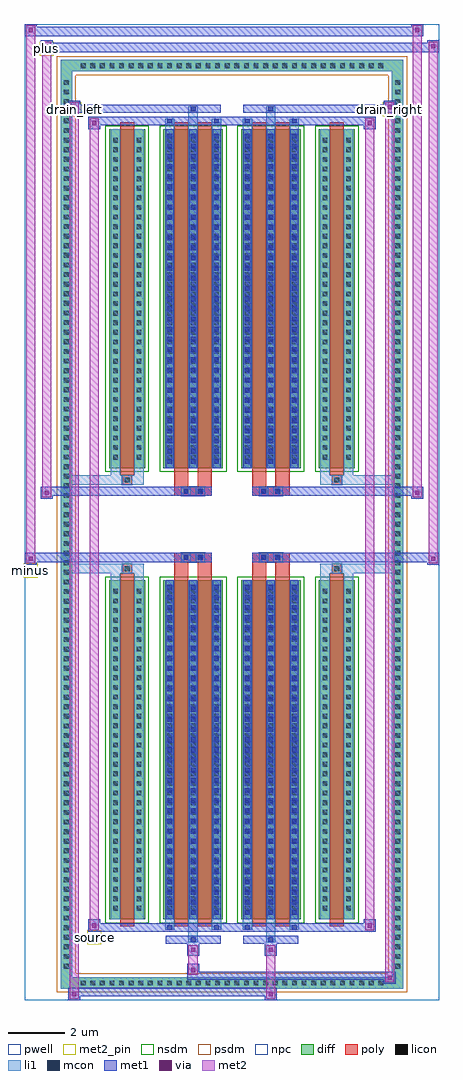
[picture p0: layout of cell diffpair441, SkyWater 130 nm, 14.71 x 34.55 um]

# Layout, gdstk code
import gdstk
lib = gdstk.Library(unit=1e-6, precision=5e-09)
def R(c, l, rs):  # rectangles x0, y0, x1, y1
    for r in rs: c.add(gdstk.rectangle(r[:2], r[2:], *l))
def A(c, l, x, y, w, h, nx, ny, dx, dy):  # array of equal rectangles
    R(c, l, [(x+i*dx, y+j*dy, x+i*dx+w, y+j*dy+h) for i in range(nx) for j in range(ny)])
def P(c, l, *ps):  # polygons
    for p in ps: c.add(gdstk.Polygon(p, *l))
pwell = (64, 44)
diff = (65, 20)
poly = (66, 20)
licon = (66, 44)
li1 = (67, 20)
mcon = (67, 44)
met1 = (68, 20)
via = (68, 44)
met2_pin = (69, 16)
met2 = (69, 20)
nsdm = (93, 44)
psdm = (94, 20)
npc = (95, 20)

diffpair441 = lib.new_cell('diffpair441')
R(diffpair441, pwell, [(-7.34,-16.84,7.34,17.71), (-4.66,-15.03,-0.01,-0.805), (0.01,-15.03,4.66,-0.805), (-4.66,0.805,-0.01,15.03), (0.01,0.805,4.66,15.03)])
A(diffpair441, diff, -5.475, -16.44, 0.41, 0.41, 32, 2, 0.34, 32.47)
A(diffpair441, diff, -6.07, -15.845, 0.41, 0.41, 1, 93, 0, 0.34)
A(diffpair441, diff, 5.66, -15.845, 0.41, 0.41, 1, 93, 0, 0.34)
R(diffpair441, diff, [(-5.475,-16.44,5.475,-16.03), (-6.07,-15.845,-5.66,15.845), (5.66,-15.845,6.07,15.845), (-4.35,-13.985,-3.07,-1.985), (-2.43,-13.985,-0.32,-1.985), (0.32,-13.985,2.43,-1.985), (3.07,-13.985,4.35,-1.985), (-4.35,1.985,-3.07,13.985), (-2.43,1.985,-0.32,13.985), (0.32,1.985,2.43,13.985), (3.07,1.985,4.35,13.985), (-5.475,16.03,5.475,16.44)])
P(diffpair441, diff, [(6.07,16.44),(-6.07,16.44),(-6.07,-16.03),(-5.66,-16.03),(-5.66,16.03),(5.66,16.03),(5.66,-16.03),(-5.66,-16.03),(-6.07,-16.03),(-6.07,-16.44),(6.07,-16.44)])
R(diffpair441, poly, [(-3.96,-14.235,-3.46,-1.735), (-2.04,-14.235,-1.54,-1.735), (-1.21,-14.235,-0.71,-1.735), (0.71,-14.235,1.21,-1.735), (1.54,-14.235,2.04,-1.735), (3.46,-14.235,3.96,-1.735), (-3.875,-1.735,-3.545,-1.405), (-3.875,-1.735,-3.545,-1.405), (-2.04,-1.735,-1.54,-1.335), (-1.21,-1.735,-0.71,-1.335), (0.71,-1.735,1.21,-1.335), (1.54,-1.735,2.04,-1.335), (3.545,-1.735,3.875,-1.405), (3.545,-1.735,3.875,-1.405), (-2.04,-1.335,-0.71,-1.005), (-1.79,-1.335,-1.46,-1.005), (-1.29,-1.335,-0.96,-1.005), (0.71,-1.335,2.04,-1.005), (0.96,-1.335,1.29,-1.005), (1.46,-1.335,1.79,-1.005), (-2.04,1.005,-0.71,1.335), (-1.79,1.005,-1.46,1.335), (-1.29,1.005,-0.96,1.335), (0.71,1.005,2.04,1.335), (0.96,1.005,1.29,1.335), (1.46,1.005,1.79,1.335), (-2.04,1.335,-1.54,1.735), (-1.21,1.335,-0.71,1.735), (0.71,1.335,1.21,1.735), (1.54,1.335,2.04,1.735), (-3.875,1.405,-3.545,1.735), (-3.875,1.405,-3.545,1.735), (3.545,1.405,3.875,1.735), (3.545,1.405,3.875,1.735), (-3.96,1.735,-3.46,14.235), (-2.04,1.735,-1.54,14.235), (-1.21,1.735,-0.71,14.235), (0.71,1.735,1.21,14.235), (1.54,1.735,2.04,14.235), (3.46,1.735,3.96,14.235)])
A(diffpair441, licon, -5.355, -16.32, 0.17, 0.17, 32, 2, 0.34, 32.47)
A(diffpair441, licon, -5.95, -15.725, 0.17, 0.17, 1, 93, 0, 0.34)
A(diffpair441, licon, 5.78, -15.725, 0.17, 0.17, 1, 93, 0, 0.34)
A(diffpair441, licon, -4.21, -13.68, 0.17, 0.17, 1, 34, 0, 0.34)
A(diffpair441, licon, -3.38, -13.68, 0.17, 0.17, 1, 34, 0, 0.34)
A(diffpair441, licon, -2.29, -13.68, 0.17, 0.17, 3, 34, 0.83, 0.34)
A(diffpair441, licon, 0.46, -13.68, 0.17, 0.17, 3, 34, 0.83, 0.34)
A(diffpair441, licon, 3.21, -13.68, 0.17, 0.17, 1, 34, 0, 0.34)
A(diffpair441, licon, 4.04, -13.68, 0.17, 0.17, 1, 34, 0, 0.34)
A(diffpair441, licon, -4.21, 2.29, 0.17, 0.17, 1, 34, 0, 0.34)
A(diffpair441, licon, -3.38, 2.29, 0.17, 0.17, 1, 34, 0, 0.34)
A(diffpair441, licon, -2.29, 2.29, 0.17, 0.17, 3, 34, 0.83, 0.34)
A(diffpair441, licon, 0.46, 2.29, 0.17, 0.17, 3, 34, 0.83, 0.34)
A(diffpair441, licon, 3.21, 2.29, 0.17, 0.17, 1, 34, 0, 0.34)
A(diffpair441, licon, 4.04, 2.29, 0.17, 0.17, 1, 34, 0, 0.34)
R(diffpair441, licon, [(-3.795,-1.655,-3.625,-1.485), (3.625,-1.655,3.795,-1.485), (-1.71,-1.255,-1.54,-1.085), (-1.21,-1.255,-1.04,-1.085), (1.04,-1.255,1.21,-1.085), (1.54,-1.255,1.71,-1.085), (-1.71,1.085,-1.54,1.255), (-1.21,1.085,-1.04,1.255), (1.04,1.085,1.21,1.255), (1.54,1.085,1.71,1.255), (-3.795,1.485,-3.625,1.655), (3.625,1.485,3.795,1.655)])
A(diffpair441, li1, -5.435, -16.4, 0.33, 0.33, 32, 2, 0.34, 32.47)
A(diffpair441, li1, -6.03, -15.805, 0.33, 0.33, 1, 93, 0, 0.34)
A(diffpair441, li1, 5.7, -15.805, 0.33, 0.33, 1, 93, 0, 0.34)
A(diffpair441, li1, -2.37, -13.985, 0.33, 12, 3, 2, 0.83, 15.97)
A(diffpair441, li1, 0.38, -13.985, 0.33, 12, 3, 2, 0.83, 15.97)
A(diffpair441, li1, -2.29, -13.83, 0.17, 0.17, 3, 33, 0.83, 0.36)
A(diffpair441, li1, -2.29, -13.83, 0.17, 11.69, 3, 2, 0.83, 15.97)
A(diffpair441, li1, 0.46, -13.83, 0.17, 0.17, 3, 33, 0.83, 0.36)
A(diffpair441, li1, 0.46, -13.83, 0.17, 11.69, 3, 2, 0.83, 15.97)
A(diffpair441, li1, -4.29, -13.76, 0.33, 0.33, 1, 34, 0, 0.34)
A(diffpair441, li1, -3.46, -13.76, 0.33, 0.33, 1, 34, 0, 0.34)
A(diffpair441, li1, -2.37, -13.76, 0.33, 0.33, 3, 34, 0.83, 0.34)
A(diffpair441, li1, 0.38, -13.76, 0.33, 0.33, 3, 34, 0.83, 0.34)
A(diffpair441, li1, 3.13, -13.76, 0.33, 0.33, 1, 34, 0, 0.34)
A(diffpair441, li1, 3.96, -13.76, 0.33, 0.33, 1, 34, 0, 0.34)
A(diffpair441, li1, -2.29, 2.14, 0.17, 0.17, 3, 33, 0.83, 0.36)
A(diffpair441, li1, 0.46, 2.14, 0.17, 0.17, 3, 33, 0.83, 0.36)
A(diffpair441, li1, -4.29, 2.21, 0.33, 0.33, 1, 34, 0, 0.34)
A(diffpair441, li1, -3.46, 2.21, 0.33, 0.33, 1, 34, 0, 0.34)
A(diffpair441, li1, -2.37, 2.21, 0.33, 0.33, 3, 34, 0.83, 0.34)
A(diffpair441, li1, 0.38, 2.21, 0.33, 0.33, 3, 34, 0.83, 0.34)
A(diffpair441, li1, 3.13, 2.21, 0.33, 0.33, 1, 34, 0, 0.34)
A(diffpair441, li1, 3.96, 2.21, 0.33, 0.33, 1, 34, 0, 0.34)
R(diffpair441, li1, [(-6.07,-16.44,-5.66,-16.03), (-6.07,-16.44,-5.66,-16.03), (-5.66,-16.44,5.66,-16.03), (5.66,-16.44,6.07,-16.03), (5.66,-16.44,6.07,-16.03), (-6.07,-16.03,-5.66,16.03), (5.66,-16.03,6.07,16.03), (-1.54,-14.79,-1.21,-13.985), (-1.46,-14.79,-1.29,-14.62), (1.21,-14.79,1.54,-13.985), (1.29,-14.79,1.46,-14.62), (-2.37,-14.36,-2.04,-13.985), (-2.29,-14.36,-2.12,-14.19), (-0.71,-14.36,-0.38,-13.985), (-0.63,-14.36,-0.46,-14.19), (0.38,-14.36,0.71,-13.985), (0.46,-14.36,0.63,-14.19), (2.04,-14.36,2.37,-13.985), (2.12,-14.36,2.29,-14.19), (-4.29,-13.985,-3.96,-1.985), (-3.46,-13.985,-3.13,-1.985), (3.13,-13.985,3.46,-1.985), (3.96,-13.985,4.29,-1.985), (-4.29,-1.985,-3.96,-1.405), (-3.46,-1.985,-3.13,-1.405), (3.13,-1.985,3.46,-1.405), (3.96,-1.985,4.29,-1.405), (-6.07,-1.735,-3.875,-1.405), (-4.29,-1.735,-3.875,-1.405), (-3.875,-1.735,-3.545,-1.405), (-3.545,-1.735,-3.13,-1.405), (3.13,-1.735,3.545,-1.405), (3.545,-1.735,3.875,-1.405), (3.545,-1.735,6.07,-1.405), (3.875,-1.735,4.29,-1.405), (-1.79,-1.335,-1.46,-1.005), (-1.29,-1.335,-0.96,-1.005), (0.96,-1.335,1.29,-1.005), (1.46,-1.335,1.79,-1.005), (-1.79,1.005,-1.46,1.335), (-1.29,1.005,-0.96,1.335), (0.96,1.005,1.29,1.335), (1.46,1.005,1.79,1.335), (-6.07,1.405,-3.875,1.735), (-4.29,1.405,-3.875,1.735), (-4.29,1.405,-3.96,1.985), (-3.875,1.405,-3.545,1.735), (-3.545,1.405,-3.13,1.735), (-3.46,1.405,-3.13,1.985), (3.13,1.405,3.545,1.735), (3.13,1.405,3.46,1.985), (3.545,1.405,3.875,1.735), (3.545,1.405,6.07,1.735), (3.875,1.405,4.29,1.735), (3.96,1.405,4.29,1.985), (-4.29,1.985,-3.96,13.985), (-3.46,1.985,-3.13,13.985), (3.13,1.985,3.46,13.985), (3.96,1.985,4.29,13.985), (-2.37,13.985,-2.04,14.36), (-1.54,13.985,-1.21,14.79), (-0.71,13.985,-0.38,14.36), (0.38,13.985,0.71,14.36), (1.21,13.985,1.54,14.79), (2.04,13.985,2.37,14.36), (-2.29,14.19,-2.12,14.36), (-0.63,14.19,-0.46,14.36), (0.46,14.19,0.63,14.36), (2.12,14.19,2.29,14.36), (-1.46,14.62,-1.29,14.79), (1.29,14.62,1.46,14.79), (-6.07,16.03,-5.66,16.44), (-6.07,16.03,-5.66,16.44), (-5.66,16.03,5.66,16.44), (5.66,16.03,6.07,16.44), (5.66,16.03,6.07,16.44)])
A(diffpair441, mcon, -2.29, -13.83, 0.17, 0.17, 3, 33, 0.83, 0.36)
A(diffpair441, mcon, 0.46, -13.83, 0.17, 0.17, 3, 33, 0.83, 0.36)
A(diffpair441, mcon, -2.29, 2.14, 0.17, 0.17, 3, 33, 0.83, 0.36)
A(diffpair441, mcon, 0.46, 2.14, 0.17, 0.17, 3, 33, 0.83, 0.36)
R(diffpair441, mcon, [(-1.46,-14.79,-1.29,-14.62), (1.29,-14.79,1.46,-14.62), (-2.29,-14.36,-2.12,-14.19), (-0.63,-14.36,-0.46,-14.19), (0.46,-14.36,0.63,-14.19), (2.12,-14.36,2.29,-14.19), (-1.71,-1.255,-1.54,-1.085), (-1.21,-1.255,-1.04,-1.085), (1.04,-1.255,1.21,-1.085), (1.54,-1.255,1.71,-1.085), (-1.71,1.085,-1.54,1.255), (-1.21,1.085,-1.04,1.255), (1.04,1.085,1.21,1.255), (1.54,1.085,1.71,1.255), (-2.29,14.19,-2.12,14.36), (-0.63,14.19,-0.46,14.36), (0.46,14.19,0.63,14.36), (2.12,14.19,2.29,14.36), (-1.46,14.62,-1.29,14.79), (1.29,14.62,1.46,14.79)])
A(diffpair441, met1, -2.35, -13.985, 0.29, 12, 3, 2, 0.83, 15.97)
A(diffpair441, met1, 0.4, -13.985, 0.29, 12, 3, 2, 0.83, 15.97)
A(diffpair441, met1, -2.35, -13.89, 0.29, 0.29, 3, 33, 0.83, 0.36)
A(diffpair441, met1, 0.4, -13.89, 0.29, 0.29, 3, 33, 0.83, 0.36)
A(diffpair441, met1, -2.35, 2.08, 0.29, 0.29, 3, 33, 0.83, 0.36)
A(diffpair441, met1, 0.4, 2.08, 0.29, 0.29, 3, 33, 0.83, 0.36)
R(diffpair441, met1, [(-5.8,-16.84,-5.37,-16.41), (1.16,-16.84,1.59,-16.41), (-5.8,-16.7,1.59,-16.41), (5.37,-16.27,5.8,-15.84), (-1.59,-16.13,5.8,-15.84), (-1.59,-15.99,-1.16,-15.56), (-1.59,-15.28,-1.16,-14.85), (1.16,-15.28,1.59,-14.85), (-2.35,-14.85,-0.4,-14.56), (-1.52,-14.85,-1.23,-14.56), (0.4,-14.85,2.35,-14.56), (1.23,-14.85,1.52,-14.56), (-5.09,-14.42,-4.66,-13.99), (-5.09,-14.42,-2.35,-14.13), (-2.35,-14.42,-2.06,-14.13), (-2.35,-14.42,-0.4,-14.13), (-0.69,-14.42,-0.4,-14.13), (-0.4,-14.42,0.4,-14.13), (0.4,-14.42,0.69,-14.13), (0.4,-14.42,2.35,-14.13), (2.06,-14.42,2.35,-14.13), (2.35,-14.42,5.09,-14.13), (4.66,-14.42,5.09,-13.99), (-7.34,-1.435,-6.91,-1.005), (6.91,-1.435,7.34,-1.005), (-7.34,-1.335,-0.71,-1.005), (-2.04,-1.335,-0.71,-1.005), (0.71,-1.335,2.04,-1.005), (0.71,-1.335,7.34,-1.005), (-1.77,-1.315,-1.48,-1.025), (-1.27,-1.315,-0.98,-1.025), (0.98,-1.315,1.27,-1.025), (1.48,-1.315,1.77,-1.025), (-6.77,0.905,-6.34,1.335), (6.34,0.905,6.77,1.335), (-6.77,1.005,-2.04,1.335), (-2.04,1.005,-0.71,1.335), (0.71,1.005,2.04,1.335), (2.04,1.005,6.77,1.335), (-1.77,1.025,-1.48,1.315), (-1.27,1.025,-0.98,1.315), (0.98,1.025,1.27,1.315), (1.48,1.025,1.77,1.315), (-5.09,13.99,-4.66,14.42), (4.66,13.99,5.09,14.42), (-5.09,14.13,-2.35,14.42), (-2.35,14.13,-2.06,14.42), (-2.35,14.13,-0.4,14.42), (-0.69,14.13,-0.4,14.42), (-0.4,14.13,0.4,14.42), (0.4,14.13,0.69,14.42), (0.4,14.13,2.35,14.42), (2.06,14.13,2.35,14.42), (2.35,14.13,5.09,14.42), (-5.8,14.56,-5.37,14.99), (-5.8,14.56,-2.35,14.85), (-2.35,14.56,-0.4,14.85), (-1.52,14.56,-1.23,14.85), (0.4,14.56,2.35,14.85), (1.23,14.56,1.52,14.85), (2.35,14.56,5.8,14.85), (5.37,14.56,5.8,14.99), (-6.77,16.71,-6.34,17.14), (-6.77,16.71,-4.66,17.04), (-4.66,16.71,4.66,17.04), (4.66,16.71,7.34,17.04), (6.91,16.71,7.34,17.14), (-7.34,17.28,-6.91,17.71), (-7.34,17.28,-4.66,17.61), (-4.66,17.28,4.66,17.61), (4.66,17.28,6.77,17.61), (6.34,17.28,6.77,17.71)])
R(diffpair441, via, [(-5.66,-16.7,-5.51,-16.55), (1.3,-16.7,1.45,-16.55), (5.51,-16.13,5.66,-15.98), (-1.45,-15.85,-1.3,-15.7), (-1.45,-15.14,-1.3,-14.99), (1.3,-15.14,1.45,-14.99), (-4.95,-14.28,-4.8,-14.13), (4.8,-14.28,4.95,-14.13), (-7.2,-1.295,-7.05,-1.145), (7.05,-1.295,7.2,-1.145), (-6.63,1.045,-6.48,1.195), (6.48,1.045,6.63,1.195), (-4.95,14.13,-4.8,14.28), (4.8,14.13,4.95,14.28), (-5.66,14.7,-5.51,14.85), (5.51,14.7,5.66,14.85), (-6.63,16.85,-6.48,17), (7.05,16.85,7.2,17), (-7.2,17.42,-7.05,17.57), (6.48,17.42,6.63,17.57)])
R(diffpair441, met2_pin, [(-5.125,-14.87,-4.625,-14.37), (-7.375,-1.885,-6.875,-1.385), (-5.835,14.44,-5.335,14.94), (5.335,14.44,5.835,14.94), (-6.805,16.59,-6.305,17.09)])
R(diffpair441, met2, [(-5.75,-16.79,-5.42,-16.46), (-5.75,-16.79,-5.42,14.94), (1.21,-16.79,1.54,-16.46), (1.21,-16.46,1.54,-15.23), (5.42,-16.22,5.75,-15.89), (5.42,-16.22,5.75,14.94), (-1.54,-15.94,-1.21,-15.61), (-1.54,-15.61,-1.21,-15.23), (-1.54,-15.23,-1.21,-14.9), (1.21,-15.23,1.54,-14.9), (-5.04,-14.37,-4.71,-14.04), (-5.04,-14.37,-4.71,14.37), (4.71,-14.37,5.04,-14.04), (4.71,-14.37,5.04,14.37), (-7.29,-1.385,-6.96,-1.055), (-7.29,-1.385,-6.96,17.66), (6.96,-1.385,7.29,-1.055), (6.96,-1.385,7.29,17.09), (-6.72,0.955,-6.39,1.285), (-6.72,0.955,-6.39,17.09), (6.39,0.955,6.72,1.285), (6.39,0.955,6.72,17.66), (-5.04,14.04,-4.71,14.37), (4.71,14.04,5.04,14.37), (-5.75,14.61,-5.42,14.94), (5.42,14.61,5.75,14.94), (-6.72,16.76,-6.39,17.09), (6.96,16.76,7.29,17.09), (-7.29,17.33,-6.96,17.66), (6.39,17.33,6.72,17.66)])
P(diffpair441, met2, [(7.29,-1.385),(7.29,-1.385),(7.29,-1.055),(7.29,-1.055)],
  [(7.29,16.76),(7.29,16.76),(7.29,17.09),(7.29,17.09)],
  [(-6.96,-1.385),(-6.96,-1.385),(-6.96,-1.055),(-6.96,-1.055)],
  [(-6.96,17.33),(-6.96,17.33),(-6.96,17.66),(-6.96,17.66)],
  [(6.72,0.955),(6.72,0.955),(6.72,1.285),(6.72,1.285)],
  [(6.72,17.33),(6.72,17.33),(6.72,17.66),(6.72,17.66)],
  [(-6.39,0.955),(-6.39,0.955),(-6.39,1.285),(-6.39,1.285)],
  [(-6.39,16.76),(-6.39,16.76),(-6.39,17.09),(-6.39,17.09)],
  [(-5.42,-16.79),(-5.42,-16.79),(-5.42,-16.46),(-5.42,-16.46)],
  [(-5.42,14.61),(-5.42,14.61),(-5.42,14.94),(-5.42,14.94)],
  [(5.75,-16.22),(5.75,-16.22),(5.75,-15.89),(5.75,-15.89)],
  [(5.75,14.61),(5.75,14.61),(5.75,14.94),(5.75,14.94)],
  [(-4.71,-14.37),(-4.71,-14.37),(-4.71,-14.04),(-4.71,-14.04)],
  [(-4.71,14.04),(-4.71,14.04),(-4.71,14.37),(-4.71,14.37)],
  [(5.04,-14.37),(5.04,-14.37),(5.04,-14.04),(5.04,-14.04)],
  [(5.04,14.04),(5.04,14.04),(5.04,14.37),(5.04,14.37)])
R(diffpair441, nsdm, [(-4.48,-14.115,-2.94,-1.855), (-2.56,-14.115,-0.19,-1.855), (0.19,-14.115,2.56,-1.855), (2.94,-14.115,4.48,-1.855), (-4.48,1.855,-2.94,14.115), (-2.56,1.855,-0.19,14.115), (0.19,1.855,2.56,14.115), (2.94,1.855,4.48,14.115)])
P(diffpair441, psdm, [(6.2,16.57),(-6.2,16.57),(-6.2,-15.9),(-5.53,-15.9),(-5.53,15.9),(5.53,15.9),(5.53,-15.9),(-5.53,-15.9),(-6.2,-15.9),(-6.2,-16.57),(6.2,-16.57)])
R(diffpair441, npc, [(-3.895,-1.755,-3.525,-1.385), (3.525,-1.755,3.895,-1.385), (-1.81,-1.355,-1.44,-0.985), (-1.81,-1.355,-0.94,-0.985), (-1.81,-1.355,-0.94,-0.985), (-1.31,-1.355,-0.94,-0.985), (0.94,-1.355,1.31,-0.985), (0.94,-1.355,1.81,-0.985), (0.94,-1.355,1.81,-0.985), (1.44,-1.355,1.81,-0.985), (-1.81,0.985,-1.44,1.355), (-1.81,0.985,-0.94,1.355), (-1.81,0.985,-0.94,1.355), (-1.31,0.985,-0.94,1.355), (0.94,0.985,1.31,1.355), (0.94,0.985,1.81,1.355), (0.94,0.985,1.81,1.355), (1.44,0.985,1.81,1.355), (-3.895,1.385,-3.525,1.755), (3.525,1.385,3.895,1.755)])
diffpair441.add(gdstk.Label('minus', (-7.125,-1.635), layer=69, texttype=5))
diffpair441.add(gdstk.Label('drain_right', (5.585,14.69), layer=69, texttype=5))
diffpair441.add(gdstk.Label('drain_left', (-5.585,14.69), layer=69, texttype=5))
diffpair441.add(gdstk.Label('source', (-4.875,-14.62), layer=69, texttype=5))
diffpair441.add(gdstk.Label('plus', (-6.555,16.84), layer=69, texttype=5))

lib.write_gds('diffpair441.gds')
